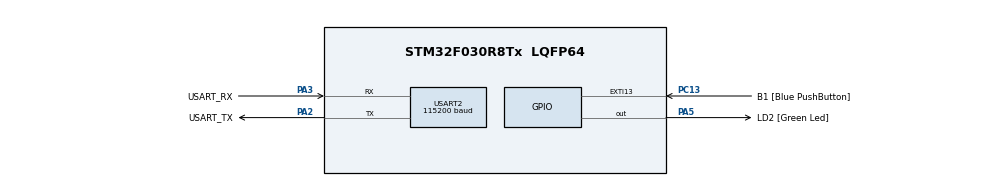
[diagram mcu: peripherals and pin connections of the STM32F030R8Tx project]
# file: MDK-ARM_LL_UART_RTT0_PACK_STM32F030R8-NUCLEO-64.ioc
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Mcu.Family=STM32F0
Mcu.Name=STM32F030R8Tx
Mcu.Package=LQFP64
NVIC.USART2_IRQn=true\:0\:0\:false\:false\:true\:true\:true
PA13.GPIO_Label=TMS
PA13.Mode=Serial_Wire
PA13.Signal=SYS_SWDIO
PA14.GPIO_Label=TCK
PA14.Mode=Serial_Wire
PA14.Signal=SYS_SWCLK
PA2.GPIO_Label=USART_TX
PA2.GPIO_Mode=GPIO_MODE_AF_PP
PA2.GPIO_PuPd=GPIO_NOPULL
PA2.GPIO_Speed=GPIO_SPEED_FREQ_LOW
PA2.Mode=Asynchronous
PA2.Signal=USART2_TX
PA3.GPIO_Label=USART_RX
PA3.GPIO_Mode=GPIO_MODE_AF_PP
PA3.GPIO_PuPd=GPIO_NOPULL
PA3.GPIO_Speed=GPIO_SPEED_FREQ_LOW
PA3.Mode=Asynchronous
PA3.Signal=USART2_RX
PA5.GPIO_Label=LD2 [Green Led]
PA5.GPIO_Mode=GPIO_MODE_OUTPUT_PP
PA5.GPIO_PuPd=GPIO_NOPULL
PA5.GPIO_Speed=GPIO_SPEED_FREQ_LOW
PA5.Signal=GPIO_Output
PC13.GPIO_Label=B1 [Blue PushButton]
PC13.GPIO_ModeDefaultEXTI=GPIO_MODE_IT_FALLING
PC13.Signal=GPXTI13
PC14-OSC32_IN.Mode=LSE-External-Oscillator
PC14-OSC32_IN.Signal=RCC_OSC32_IN
PC15-OSC32_OUT.Mode=LSE-External-Oscillator
PC15-OSC32_OUT.Signal=RCC_OSC32_OUT
PF0-OSC_IN.Mode=HSE-External-Clock-Source
PF0-OSC_IN.Signal=RCC_OSC_IN
PF1-OSC_OUT.Signal=RCC_OSC_OUT
ProjectManager.HeapSize=0x200
ProjectManager.StackSize=0x400
ProjectManager.TargetToolchain=MDK-ARM V5.27
RCC.AHBFreq_Value=48000000
RCC.APB1Freq_Value=48000000
RCC.APB1TimFreq_Value=48000000
RCC.HCLKFreq_Value=48000000
RCC.PLLMUL=RCC_PLL_MUL12
RCC.SYSCLKFreq_VALUE=48000000
RCC.SYSCLKSource=RCC_SYSCLKSOURCE_PLLCLK
USART2.BaudRate=115200
USART2.VirtualMode-Asynchronous=VM_ASYNC
board=NUCLEO-F030R8

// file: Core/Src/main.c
/* USER CODE BEGIN Header */
/**
  ******************************************************************************
  * @file           : main.c
  * @brief          : Main program body
  ******************************************************************************
  * @attention
  *
  * <h2><center>&copy; Copyright (c) 2021 STMicroelectronics.
  * All rights reserved.</center></h2>
  *
  * This software component is licensed by ST under BSD 3-Clause license,
  * the "License"; You may not use this file except in compliance with the
  * License. You may obtain a copy of the License at:
  *                        opensource.org/licenses/BSD-3-Clause
  *
  ******************************************************************************
  */
/* USER CODE END Header */
#include "main.h"

/* USER CODE BEGIN Includes */
#include "trice.h"
/* USER CODE END Includes */

/* USER CODE BEGIN PV */
int milliSecond = 0;
/* USER CODE END PV */

void SystemClock_Config(void);
static void MX_GPIO_Init(void);
static void MX_USART2_UART_Init(void);

int main(void)
{
  /* USER CODE BEGIN 1 */
#ifdef ENCRYPT
    InitXteaTable();
#endif
  /* USER CODE END 1 */

  /* MCU Configuration--------------------------------------------------------*/

  /* Reset of all peripherals, Initializes the Flash interface and the Systick. */

  LL_APB1_GRP2_EnableClock(LL_APB1_GRP2_PERIPH_SYSCFG);
  LL_APB1_GRP1_EnableClock(LL_APB1_GRP1_PERIPH_PWR);

  /* System interrupt init*/

  /* Configure the system clock */
  SystemClock_Config();

  /* USER CODE BEGIN SysInit */
    SysTick->CTRL |= SysTick_CTRL_TICKINT_Msk; // enable SysTick interrupt
  /* USER CODE END SysInit */

  /* Initialize all configured peripherals */
  MX_GPIO_Init();
  MX_USART2_UART_Init();
  /* USER CODE BEGIN 2 */
    LL_USART_EnableIT_RXNE(TRICE_UART); // enable UART2 interrupt
    TRICE_HEADLINE;
  /* USER CODE END 2 */

  /* Infinite loop */
  /* USER CODE BEGIN WHILE */
  while (1)
  {
    static int lastTricesTime = 0;
    { // send some trices every few ms
        if( milliSecond >= lastTricesTime + 100 ){
            static int index = 0;
            int select = index % 30;
            #if TRICE_PACK2_ENCODING == TRICE_ENCODING
            TRICE16_2( Id(1047663),"MSG: triceFifoMaxDepth = %d, select = %d\n", triceFifoMaxDepth, select ); // bigID check
            #else
            TRICE16_2( Id(47663),"MSG: triceFifoMaxDepth = %d, select = %d\n", triceFifoMaxDepth, select );
            #endif
            triceCheckSetTime(select);
            triceCheckSetSpace(select);
            index++;
            lastTricesTime = milliSecond;
        }
    }
    /* USER CODE END WHILE */

    /* USER CODE BEGIN 3 */
        { // serve every few ms
            static int lastMs = 0;
            if( milliSecond >= lastMs + 1 ){
                lastMs = milliSecond;
                // nothing to do
            }
        }
  }
  /* USER CODE END 3 */
}

void SystemClock_Config(void)
{
  LL_FLASH_SetLatency(LL_FLASH_LATENCY_1);
  while(LL_FLASH_GetLatency() != LL_FLASH_LATENCY_1)
  {
  }
  LL_RCC_HSI_Enable();

   /* Wait till HSI is ready */
  while(LL_RCC_HSI_IsReady() != 1)
  {

  }
  LL_RCC_HSI_SetCalibTrimming(16);
  LL_RCC_PLL_ConfigDomain_SYS(LL_RCC_PLLSOURCE_HSI_DIV_2, LL_RCC_PLL_MUL_12);
  LL_RCC_PLL_Enable();

   /* Wait till PLL is ready */
  while(LL_RCC_PLL_IsReady() != 1)
  {

  }
  LL_RCC_SetAHBPrescaler(LL_RCC_SYSCLK_DIV_1);
  LL_RCC_SetAPB1Prescaler(LL_RCC_APB1_DIV_1);
  LL_RCC_SetSysClkSource(LL_RCC_SYS_CLKSOURCE_PLL);

   /* Wait till System clock is ready */
  while(LL_RCC_GetSysClkSource() != LL_RCC_SYS_CLKSOURCE_STATUS_PLL)
  {

  }
  LL_Init1msTick(48000000);
  LL_SetSystemCoreClock(48000000);
}

static void MX_USART2_UART_Init(void)
{

  LL_USART_InitTypeDef USART_InitStruct = {0};

  LL_GPIO_InitTypeDef GPIO_InitStruct = {0};

  /* Peripheral clock enable */
  LL_APB1_GRP1_EnableClock(LL_APB1_GRP1_PERIPH_USART2);

  LL_AHB1_GRP1_EnableClock(LL_AHB1_GRP1_PERIPH_GPIOA);
  /**USART2 GPIO Configuration
  PA2   ------> USART2_TX
  PA3   ------> USART2_RX
  */
  GPIO_InitStruct.Pin = USART_TX_Pin;
  GPIO_InitStruct.Mode = LL_GPIO_MODE_ALTERNATE;
  GPIO_InitStruct.Speed = LL_GPIO_SPEED_FREQ_LOW;
  GPIO_InitStruct.OutputType = LL_GPIO_OUTPUT_PUSHPULL;
  GPIO_InitStruct.Pull = LL_GPIO_PULL_NO;
  GPIO_InitStruct.Alternate = LL_GPIO_AF_1;
  LL_GPIO_Init(USART_TX_GPIO_Port, &GPIO_InitStruct);

  GPIO_InitStruct.Pin = USART_RX_Pin;
  GPIO_InitStruct.Mode = LL_GPIO_MODE_ALTERNATE;
  GPIO_InitStruct.Speed = LL_GPIO_SPEED_FREQ_LOW;
  GPIO_InitStruct.OutputType = LL_GPIO_OUTPUT_PUSHPULL;
  GPIO_InitStruct.Pull = LL_GPIO_PULL_NO;
  GPIO_InitStruct.Alternate = LL_GPIO_AF_1;
  LL_GPIO_Init(USART_RX_GPIO_Port, &GPIO_InitStruct);

  /* USART2 interrupt Init */
  NVIC_SetPriority(USART2_IRQn, 0);
  NVIC_EnableIRQ(USART2_IRQn);

  USART_InitStruct.BaudRate = 115200;
  USART_InitStruct.DataWidth = LL_USART_DATAWIDTH_8B;
  USART_InitStruct.StopBits = LL_USART_STOPBITS_1;
  USART_InitStruct.Parity = LL_USART_PARITY_NONE;
  USART_InitStruct.TransferDirection = LL_USART_DIRECTION_TX_RX;
  USART_InitStruct.HardwareFlowControl = LL_USART_HWCONTROL_NONE;
  USART_InitStruct.OverSampling = LL_USART_OVERSAMPLING_16;
  LL_USART_Init(USART2, &USART_InitStruct);
  LL_USART_DisableIT_CTS(USART2);
  LL_USART_ConfigAsyncMode(USART2);
  LL_USART_Enable(USART2);

}

static void MX_GPIO_Init(void)
{
  LL_EXTI_InitTypeDef EXTI_InitStruct = {0};
  LL_GPIO_InitTypeDef GPIO_InitStruct = {0};

  /* GPIO Ports Clock Enable */
  LL_AHB1_GRP1_EnableClock(LL_AHB1_GRP1_PERIPH_GPIOC);
  LL_AHB1_GRP1_EnableClock(LL_AHB1_GRP1_PERIPH_GPIOF);
  LL_AHB1_GRP1_EnableClock(LL_AHB1_GRP1_PERIPH_GPIOA);

  /**/
  LL_GPIO_ResetOutputPin(LD2_GPIO_Port, LD2_Pin);

  /**/
  LL_SYSCFG_SetEXTISource(LL_SYSCFG_EXTI_PORTC, LL_SYSCFG_EXTI_LINE13);

  /**/
  LL_GPIO_SetPinPull(B1_GPIO_Port, B1_Pin, LL_GPIO_PULL_NO);

  /**/
  LL_GPIO_SetPinMode(B1_GPIO_Port, B1_Pin, LL_GPIO_MODE_INPUT);

  /**/
  EXTI_InitStruct.Line_0_31 = LL_EXTI_LINE_13;
  EXTI_InitStruct.LineCommand = ENABLE;
  EXTI_InitStruct.Mode = LL_EXTI_MODE_IT;
  EXTI_InitStruct.Trigger = LL_EXTI_TRIGGER_FALLING;
  LL_EXTI_Init(&EXTI_InitStruct);

  /**/
  GPIO_InitStruct.Pin = LD2_Pin;
  GPIO_InitStruct.Mode = LL_GPIO_MODE_OUTPUT;
  GPIO_InitStruct.Speed = LL_GPIO_SPEED_FREQ_LOW;
  GPIO_InitStruct.OutputType = LL_GPIO_OUTPUT_PUSHPULL;
  GPIO_InitStruct.Pull = LL_GPIO_PULL_NO;
  LL_GPIO_Init(LD2_GPIO_Port, &GPIO_InitStruct);

}

void Error_Handler(void)
{
  __disable_irq();
  while (1)
  {
  }
}

/************************ (C) COPYRIGHT STMicroelectronics *****END OF FILE****/
